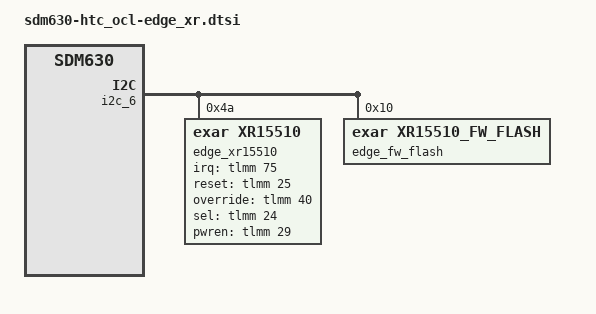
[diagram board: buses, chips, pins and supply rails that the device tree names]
&tlmm {
    edge_mux {
        edge_rst_active:edge_rst_active {
            mux {
                pins = "gpio25";
                function = "gpio";
            };

            config {
                pins = "gpio25";
                drive-strength = <2>;
                bias-disable; /* No PULL */
                output-high;
            };
        };
        edge_rst_suspend:edge_rst_suspend {
            mux {
                pins = "gpio25";
                function = "gpio";
            };

            config {
                pins = "gpio25";
                drive-strength = <2>;
                bias-disable; /* No PULL*/
                output-low;
            };
        };

        edge_int_active:edge_int_active {
            mux {
                pins = "gpio75";
                function = "gpio";
            };

            config {
                pins = "gpio75";
                drive-strength = <2>;
                bias-disable;
                input-enable;
            };
        };

        edge_int_suspend:edge_int_suspend {
            mux {
                pins = "gpio75";
                function = "gpio";
            };

            config {
                pins = "gpio75";
                drive-strength = <2>;
                bias-disable;
                input-enable;
            };
        };

        edge_override_active:edge_override_active {
            mux {
                pins = "gpio40";
                function = "gpio";
            };

            config {
                pins = "gpio40";
                drive-strength = <2>;
                bias-disable; /* No PULL */
                output-high;
            };
        };
        edge_override_suspend:edge_override_suspend {
            mux {
                pins = "gpio40";
                function = "gpio";
            };

            config {
                pins = "gpio40";
                drive-strength = <2>;
                bias-disable;
                output-low;
            };
        };

        edge_sel_active:edge_sel_active {
            mux {
                pins = "gpio24";
                function = "gpio";
            };

            config {
                pins = "gpio24";
                drive-strength = <2>;
                bias-disable; /* No PULL */
                output-high;
            };
        };
        edge_sel_suspend:edge_sel_suspend {
            mux {
                pins = "gpio24";
                function = "gpio";
            };

            config {
                pins = "gpio24";
                drive-strength = <2>;
                bias-disable; /* No PULL*/
                output-low;
            };
        };

        edge_pwr_active:edge_pwr_active {
            mux {
                pins = "gpio29";
                function = "gpio";
            };

            config {
                pins = "gpio29";
                drive-strength = <2>;
                bias-disable; /* No PULL */
                output-high;
            };
        };
        edge_pwr_suspend:edge_pwr_suspend {
            mux {
                pins = "gpio29";
                function = "gpio";
            };

            config {
                pins = "gpio29";
                drive-strength = <2>;
                bias-disable; /* No PULL*/
                output-low;
            };
        };
    };
};

&i2c_6 {
    qcom,disable-dma;
    status = "okay";
    edge_xr15510@4a {
        compatible       = "exar,xr15510";
        reg              = <0x4a>;
        interrupt-parent = <&tlmm>;
        interrupts       = <75 0x2008>;
        irq-gpio         = <&tlmm 75 0x00>; //V
        reset-gpio       = <&tlmm 25 0x00>; //V
        override-gpio    = <&tlmm 40 0x00>; //V
        sel-gpio         = <&tlmm 24 0x00>; //V
        pwren-gpio       = <&tlmm 29 0x00>; //V
        edge_gadc        = <120>;
        project_id	     = <1>;
        /*
           project {
            {Ocean,	0},
            {OceanLife, 1}
           }
         */
        pinctrl-names = "edge_mux_active", "edge_mux_suspend";
        pinctrl-0 = <&edge_rst_active &edge_int_active &edge_override_active &edge_sel_active &edge_pwr_active>;
        pinctrl-1 = <&edge_rst_suspend &edge_int_suspend &edge_override_suspend &edge_sel_suspend &edge_pwr_suspend>;
    };

    edge_fw_flash@10 {
        compatible = "exar,xr15510_fw_flash";
        reg = <0x10>;
    };
};
